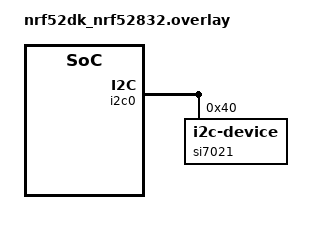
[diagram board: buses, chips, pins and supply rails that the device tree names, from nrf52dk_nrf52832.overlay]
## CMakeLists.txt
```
# SPDX-License-Identifier: Apache-2.0

cmake_minimum_required(VERSION 3.20.0)

find_package(Zephyr REQUIRED HINTS $ENV{ZEPHYR_BASE})
project(i2c_ble_peripheral)

zephyr_include_directories(.) # (inc)

# NORDIC SDK APP START
target_sources(app PRIVATE
	src/main.c
	src/si7021.c
	src/services/ble_shs.c
)

# NORDIC SDK APP END
```

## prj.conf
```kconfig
# Button and LED library
CONFIG_DK_LIBRARY=y

# Bluetooth LE
CONFIG_BT=y
CONFIG_BT_PERIPHERAL=y
CONFIG_BT_DEVICE_NAME="droidecahedron_sensorhub"
CONFIG_BT_MAX_CONN=1

# Increase stack size for the main thread and System Workqueue
CONFIG_SYSTEM_WORKQUEUE_STACK_SIZE=2048
CONFIG_MAIN_STACK_SIZE=2048

#I2C
CONFIG_I2C=y
CONFIG_CBPRINTF_FP_SUPPORT=y

# Power savings if you disable these.
CONFIG_LOG=n #changed
CONFIG_SERIAL=n #added
#CONFIG_LOG_DEFAULT_LEVEL=0

# tx power config examples. not all socs support all +/-, check your soc
# CONFIG_BT_CTRL_TX_PWR_PLUS_8=y
# CONFIG_BT_CTLR_TX_PWR_0=y
#CONFIG_BT_CTLR_TX_PWR_MINUS_40=y

CONFIG_PM=y
CONFIG_PM_DEVICE=y
```

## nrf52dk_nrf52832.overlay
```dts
// To get started, press Ctrl+Space to bring up the completion menu and view the available nodes.

// You can also use the buttons in the sidebar to perform actions on nodes.
// Actions currently available include:

// * Enabling / disabling the node
// * Adding the bus to a bus
// * Removing the node
// * Connecting ADC channels

// For more help, browse the DeviceTree documentation at https://docs.zephyrproject.org/latest/guides/dts/index.html
// You can also visit the nRF DeviceTree extension documentation at https://nrfconnect.github.io/vscode-nrf-connect/devicetree/nrfdevicetree.html
&i2c0 {

    si7021: si7021@40{
        compatible = "i2c-device";
        status = "okay";
        reg = < 0x40 >;
    };
};

&pinctrl {

    i2c0_default: i2c0_default {
		group1 {
			psels = <NRF_PSEL(TWIM_SDA, 0, 26)>,
				<NRF_PSEL(TWIM_SCL, 0, 27)>;
                bias-pull-up;
		};
	};

	i2c0_sleep: i2c0_sleep {
		group1 {
			psels = <NRF_PSEL(TWIM_SDA, 0, 26)>,
				<NRF_PSEL(TWIM_SCL, 0, 27)>;
            bias-pull-up;
			low-power-enable;
		};
	};

};


//low power, use these for debugging.

// &uart1{

//     status="disabled";
// };

// &uart0{

//     status="disabled";
// };
```

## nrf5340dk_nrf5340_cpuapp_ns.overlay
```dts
// To get started, press Ctrl+Space to bring up the completion menu and view the available nodes.

// You can also use the buttons in the sidebar to perform actions on nodes.
// Actions currently available include:

// * Enabling / disabling the node
// * Adding the bus to a bus
// * Removing the node
// * Connecting ADC channels

// For more help, browse the DeviceTree documentation at https://docs.zephyrproject.org/latest/guides/dts/index.html
// You can also visit the nRF DeviceTree extension documentation at https://nrfconnect.github.io/vscode-nrf-connect/devicetree/nrfdevicetree.html

&i2c1 {

    si7021: si7021@40{
        compatible = "i2c-device";
        status = "okay";
        reg = < 0x40 >;
    };
};

&pinctrl {
	i2c1_default: i2c1_default {
		group1 {
			psels = <NRF_PSEL(TWIM_SDA, 1, 2)>,
				<NRF_PSEL(TWIM_SCL, 1, 3)>;
                bias-pull-up;
		};
	};
};


//low power, use these for debugging.

// &uart1{

//     status="disabled";
// };

// &uart0{

//     status="disabled";
// };
```

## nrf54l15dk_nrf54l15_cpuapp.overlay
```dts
&pinctrl {
	i2c22_default: i2c22_default {
		group1  {
			psels = <NRF_PSEL(TWIM_SCL, 1, 11)>,
					<NRF_PSEL(TWIM_SDA, 1, 12)>;
			bias-pull-up;
		};
	};

	i2c22_sleep: i2c22_sleep {
		group1  {
			psels = <NRF_PSEL(TWIM_SCL, 1, 11)>,
					<NRF_PSEL(TWIM_SDA, 1, 12)>;
			bias-pull-up;
			low-power-enable;
		};
	};

};

&i2c22 {
	status = "okay";
	zephyr,concat-buf-size = <512>;
	pinctrl-0 = <&i2c22_default>;
	pinctrl-1 = <&i2c22_sleep>;
	pinctrl-names = "default", "sleep";

	si7021: si7021@40{
        compatible = "i2c-device";
        status = "okay";
        reg = < 0x40 >;
    };
};

&adc {
	status = "okay";
};
```

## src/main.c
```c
/*
 * Copyright (c) 2016 Intel Corporation
 *
 * SPDX-License-Identifier: Apache-2.0
 */

#include <zephyr/kernel.h>
#include <zephyr/device.h>
#include <zephyr/devicetree.h>

#include <zephyr/logging/log.h>

#include <zephyr/bluetooth/bluetooth.h>
#include <zephyr/bluetooth/hci.h>
#include <zephyr/bluetooth/gap.h>
#include <zephyr/bluetooth/uuid.h>
#include <zephyr/bluetooth/conn.h>
#include <zephyr/bluetooth/gatt.h>


#include <zephyr/settings/settings.h>

#include "inc/si7021.h"
#include "services/ble_shs.h"

#define STACKSIZE 1024
#define PRIORITY 7

#define SENSOR_SLEEP_TIME_MS   15000

LOG_MODULE_REGISTER(main);

static const struct bt_le_adv_param *adv_param = BT_LE_ADV_PARAM(
	(BT_LE_ADV_OPT_CONNECTABLE |
	 BT_LE_ADV_OPT_USE_IDENTITY), /* Connectable advertising and use identity address */
	16383, /* Min Advertising Interval 500ms (800*0.625ms) 16383*/
	16384, /* Max Advertising Interval 500.625ms (801*0.625ms) 16384 */
	NULL); /* Set to NULL for undirected advertising */


#define DEVICE_NAME CONFIG_BT_DEVICE_NAME
#define DEVICE_NAME_LEN (sizeof(DEVICE_NAME) - 1)

#define NOTIFY_INTERVAL 500

static const struct bt_data ad[] =
{
	BT_DATA_BYTES(BT_DATA_FLAGS, (BT_LE_AD_GENERAL | BT_LE_AD_NO_BREDR)),
	BT_DATA(BT_DATA_NAME_COMPLETE, DEVICE_NAME, DEVICE_NAME_LEN),
};

static const struct bt_data sd[] =
{
	BT_DATA_BYTES(BT_DATA_UUID128_ALL, SENSOR_HUB_SERVICE_UUID),
};


//BT globals and callbacks
struct bt_conn *m_connection_handle = NULL;
static void connected(struct bt_conn *conn, uint8_t err)
{
	if (err) {
		LOG_WRN("Connection failed (err %u)\n", err);
		return;
	}

	m_connection_handle = conn;
	LOG_INF("Connected\n");	
}

static void disconnected(struct bt_conn *conn, uint8_t reason)
{
	LOG_INF("Disconnected (reason %u)\n", reason);
	m_connection_handle = NULL;
}

BT_CONN_CB_DEFINE(conn_callbacks) =
{
	.connected        = connected,
	.disconnected     = disconnected,
};


int32_t bt_humidity;
int32_t bt_temperature;

void bt_send_data_thread(void)
{
	while (1) {
        if(m_connection_handle) // if bluetooth connection present
        {
            sensor_hub_update_temperature(m_connection_handle, (uint8_t*)(&bt_temperature), sizeof(bt_temperature));
            sensor_hub_update_humidity(m_connection_handle, (uint8_t*)(&bt_humidity), sizeof(bt_humidity));
        }
		k_sleep(K_MSEC(NOTIFY_INTERVAL));
	}
}

//main is also our sensor sample thread.
int main(void)
{
    int err;

    si7021_init();
    k_msleep(100); // give it some time after resetting.
    
    //Setting up Bluetooth
	err = bt_enable(NULL);
	if(err) 
	{
		LOG_ERR("Bluetooth init failed (err %d)\n", err);
		return -1;
	}
	LOG_INF("Bluetooth initialized");

	if(IS_ENABLED(CONFIG_SETTINGS)) 
	{
		settings_load();
	}

	err = bt_le_adv_start(adv_param, ad, ARRAY_SIZE(ad),
			      sd, ARRAY_SIZE(sd));
	if(err) 
	{
		LOG_ERR("Advertising failed to start (err %d)\n", err);
		return -2;
	}
	LOG_INF("Advertising successfully started\n");

	float humidity, temperature_C = 0;
    while(1)
    {    
        humidity = si7021_read_humidity();
        temperature_C = si7021_read_temperature();

        bt_humidity = (int32_t)(humidity);
        bt_temperature = (int32_t)(temperature_C);

        LOG_INF("Humidity: %.2f, Temperature (C) : %.2f", (double)humidity, (double)temperature_C);
        k_msleep(SENSOR_SLEEP_TIME_MS);
    }
	
	return 0;
}

K_THREAD_DEFINE(bt_send_data_thread_id, STACKSIZE, bt_send_data_thread, NULL, NULL, NULL, PRIORITY, 0, 0);
```

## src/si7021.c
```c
#include <zephyr/kernel.h>
#include <zephyr/device.h>
#include <zephyr/sys/util.h>
#include <zephyr/devicetree.h>

#include <zephyr/logging/log.h>
#include <zephyr/drivers/i2c.h>

// power management
#include <zephyr/pm/pm.h>
#include <zephyr/pm/device.h>

#include "inc/si7021.h"

LOG_MODULE_REGISTER(si7021);

#define I2C_NODE DT_NODELABEL(si7021)

static const struct i2c_dt_spec dev_i2c = I2C_DT_SPEC_GET(I2C_NODE);
const struct device *i2c_device = DEVICE_DT_GET(DT_NODELABEL(i2c22));

bool si7021_init(void)
{
    int err;
    if (!device_is_ready(dev_i2c.bus))
    {
        printk("I2C bus %s is not ready!", dev_i2c.bus->name);
        return false;
    }

    uint8_t cmd[] = {SI7021_RESET_CMD};
    err = i2c_write_dt(&dev_i2c, cmd, sizeof(cmd));
    if (err != 0)
    {
        LOG_WRN("Failed to write to i2c dev addr");
        return false;
    }

    //power management
    err = pm_device_action_run(i2c_device, PM_DEVICE_ACTION_SUSPEND);

    return true;
}

float si7021_read_humidity(void)
{
    int err;
    float relative_humidity;

    err = pm_device_action_run(i2c_device, PM_DEVICE_ACTION_RESUME);

    if (!device_is_ready(dev_i2c.bus))
    {
        LOG_WRN("I2C bus %s is not ready!", dev_i2c.bus->name);
        return 0;
    }

    // start conversion
    uint8_t cmd[] = {SI7021_MEASRH_NOHOLD_CMD};
    uint8_t buf[2] = {0};
    err = i2c_write_dt(&dev_i2c, cmd, sizeof(cmd));
    if (err != 0)
    {
        LOG_WRN("Failed to write/read to i2c dev");
        return SI7021_ERRCODE;
    }
    k_msleep(20); // conversion time

    err = i2c_read_dt(&dev_i2c, buf, sizeof(buf));
    if (err != 0)
    {
        LOG_WRN("Failed to write/read to i2c dev");
        return SI7021_ERRCODE;
    }
    
    err = pm_device_action_run(i2c_device, PM_DEVICE_ACTION_SUSPEND);

    relative_humidity = (125 * ((buf[0] << 8) | buf[1]) / 65536) - 6;
    return relative_humidity;
}

float si7021_read_temperature(void)
{
    int err;
    float temperature_C;

    err = pm_device_action_run(i2c_device, PM_DEVICE_ACTION_RESUME);

    if (!device_is_ready(dev_i2c.bus))
    {
        printk("I2C bus %s is not ready!", dev_i2c.bus->name);
        return 0;
    }

    // start conversion
    uint8_t cmd[] = {SI7021_MEASTEMP_NOHOLD_CMD};
    uint8_t buf[2] = {0};
    err = i2c_write_dt(&dev_i2c, cmd, sizeof(cmd));
    if (err != 0)
    {
        LOG_WRN("Failed to write/read to i2c dev");
        return SI7021_ERRCODE;
    }

    k_msleep(20); // conversion time

    err = i2c_read_dt(&dev_i2c, buf, sizeof(buf));
    if (err != 0)
    {
        LOG_WRN("Failed to write/read to i2c dev");
        return SI7021_ERRCODE;
    }

    err = pm_device_action_run(i2c_device, PM_DEVICE_ACTION_SUSPEND);

    //unit conversion
    temperature_C = (175.72 * ((buf[0] << 8) | buf[1]) / 65536) - 46.85;
    return temperature_C;
}
```
